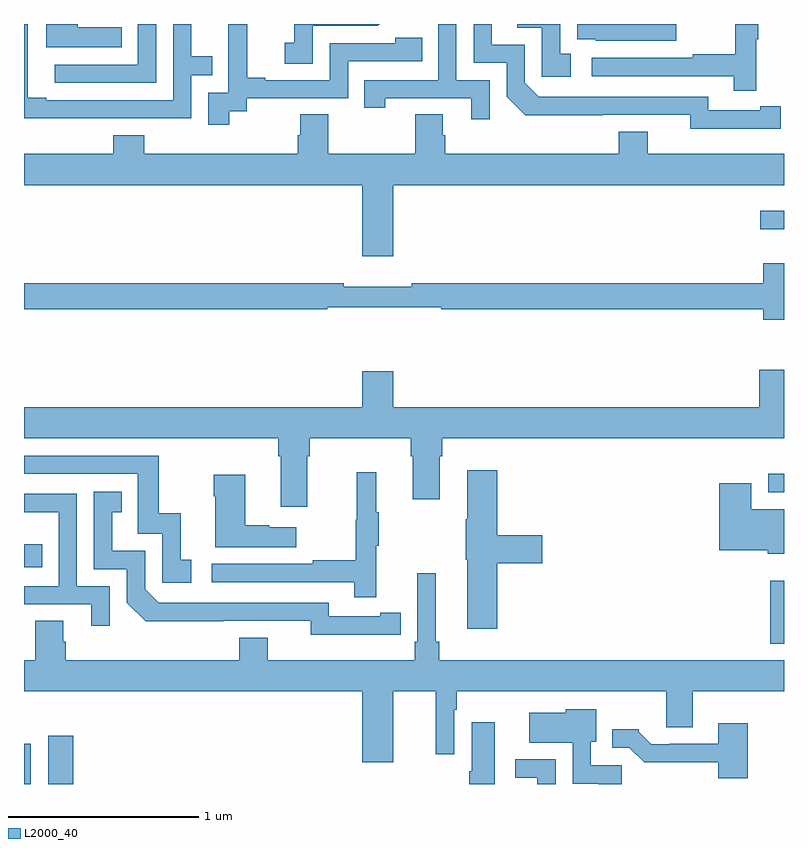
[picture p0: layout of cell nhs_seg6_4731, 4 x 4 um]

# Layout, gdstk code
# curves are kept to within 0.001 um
import gdstk
lib = gdstk.Library(unit=1e-6, precision=1e-09)
def R(c, l, rs):  # rectangles x0, y0, x1, y1
    for r in rs: c.add(gdstk.rectangle(r[:2], r[2:], *l))
def P(c, l, *ps):  # polygons
    for p in ps: c.add(gdstk.Polygon(p, *l))
L2000_40 = (2000, 40)

nhs_seg6_4731 = lib.new_cell('nhs_seg6_4731')
R(nhs_seg6_4731, L2000_40, [(391,961.5,391.036,961.711), (391.127,961.5,391.259,961.753), (394.927,962.237,395,962.569), (391,962.64,391.097,962.763), (394.917,963.036,395,963.134), (394.875,964.419,395,964.516)])
P(nhs_seg6_4731, L2000_40, [(394.853,965.419),(394.864,965.419),(394.864,965.5),(394.743,965.5),(394.743,965.342),(394.519,965.342),(394.519,965.322),(393.987,965.322),(393.987,965.226),(394.735,965.226),(394.735,965.148),(394.853,965.148)],
  [(393.877,965.343),(393.822,965.343),(393.822,965.5),(393.597,965.5),(393.597,965.481),(393.726,965.481),(393.726,965.223),(393.877,965.223)],
  [(391.385,965.004),(391.881,965.004),(391.881,965.229),(391.991,965.229),(391.991,965.33),(391.881,965.33),(391.881,965.5),(391.785,965.5),(391.785,965.1),(391.117,965.1),(391.117,965.113),(391.021,965.113),(391.021,965.306),(391.02,965.306),(391.02,965.5),(391,965.5),(391,965.003),(391.385,965.003)],
  [(392.08,965.041),(392.172,965.041),(392.172,965.109),(392.706,965.109),(392.706,965.304),(393.095,965.304),(393.095,965.427),(392.955,965.427),(392.955,965.4),(392.61,965.4),(392.61,965.205),(392.269,965.205),(392.269,965.218),(392.174,965.218),(392.174,965.5),(392.075,965.5),(392.075,965.369),(392.076,965.369),(392.076,965.139),(391.971,965.139),(391.971,964.971),(392.08,964.971)],
  [(391.514,965.482),(391.284,965.482),(391.284,965.5),(391.118,965.5),(391.118,965.378),(391.514,965.378)],
  [(394.874,964.95),(394.982,964.95),(394.982,965.066),(394.874,965.066),(394.874,965.046),(394.602,965.046),(394.602,965.118),(393.708,965.118),(393.636,965.19),(393.636,965.391),(393.463,965.391),(393.463,965.5),(393.366,965.5),(393.366,965.295),(393.54,965.295),(393.54,965.118),(393.638,965.021),(394.506,965.022),(394.506,964.949)],
  [(391.695,965.5),(391.599,965.5),(391.599,965.286),(391.161,965.286),(391.161,965.19),(391.695,965.19)],
  [(393.45,965.205),(393.276,965.205),(393.276,965.5),(393.18,965.5),(393.18,965.205),(392.791,965.205),(392.791,965.058),(392.902,965.058),(392.902,965.109),(393.353,965.109),(393.353,964.998),(393.45,964.998)],
  [(392.52,965.49),(392.862,965.49),(392.872,965.5),(392.422,965.5),(392.422,965.401),(392.373,965.401),(392.373,965.292),(392.52,965.292)],
  [(394.432,965.5),(393.911,965.5),(393.911,965.42),(394.008,965.42),(394.008,965.411),(394.432,965.411)],
  [(392.944,964.652),(395,964.652),(395,964.816),(394.282,964.816),(394.282,964.933),(394.13,964.933),(394.13,964.816),(393.218,964.816),(393.218,964.914),(393.205,964.914),(393.205,965.024),(393.058,965.024),(393.058,964.816),(392.601,964.816),(392.601,965.024),(392.453,965.024),(392.453,964.914),(392.441,964.914),(392.441,964.816),(391.634,964.816),(391.634,964.915),(391.469,964.915),(391.469,964.816),(391,964.816),(391,964.652),(392.78,964.652),(392.78,964.278),(392.944,964.278)],
  [(395,964.24),(394.892,964.24),(394.892,964.136),(393.04,964.136),(393.04,964.117),(392.684,964.117),(392.684,964.136),(391,964.136),(391,964),(392.596,964),(392.596,964.008),(393.196,964.008),(393.196,964),(394.892,964),(394.892,963.944),(395,963.944)],
  [(392.491,963.224),(392.504,963.224),(392.504,963.32),(393.035,963.32),(393.035,963.224),(393.047,963.224),(393.047,963),(393.187,963),(393.187,963.224),(393.2,963.224),(393.2,963.32),(395,963.32),(395,963.679),(394.871,963.679),(394.871,963.484),(392.944,963.484),(392.944,963.673),(392.78,963.673),(392.78,963.484),(391,963.484),(391,963.32),(392.339,963.32),(392.339,963.224),(392.351,963.224),(392.351,962.958),(392.491,962.958)],
  [(391.879,962.679),(391.826,962.679),(391.826,962.926),(391.708,962.926),(391.708,963.228),(391,963.228),(391,963.132),(391.599,963.132),(391.599,962.817),(391.728,962.817),(391.728,962.559),(391.879,962.559)],
  [(393.491,962.663),(393.727,962.663),(393.727,962.81),(393.491,962.81),(393.491,963.151),(393.332,963.151),(393.332,962.893),(393.325,962.893),(393.325,962.679),(393.332,962.679),(393.332,962.316),(393.491,962.316)],
  [(392.855,962.755),(392.866,962.755),(392.866,962.929),(392.855,962.929),(392.855,963.142),(392.752,963.142),(392.752,962.892),(392.745,962.892),(392.745,962.678),(392.521,962.678),(392.521,962.658),(391.989,962.658),(391.989,962.562),(392.737,962.562),(392.737,962.484),(392.855,962.484)],
  [(392.434,962.851),(392.291,962.851),(392.291,962.861),(392.164,962.861),(392.164,963.127),(391.999,963.127),(391.999,963.014),(392.006,963.014),(392.006,962.747),(392.434,962.747)],
  [(395,962.947),(394.828,962.947),(394.828,963.082),(394.658,963.082),(394.658,962.729),(394.914,962.729),(394.914,962.711),(395,962.711)],
  [(392.876,962.286),(392.984,962.286),(392.984,962.402),(392.876,962.402),(392.876,962.382),(392.604,962.382),(392.604,962.454),(391.71,962.454),(391.638,962.526),(391.638,962.727),(391.465,962.727),(391.465,962.931),(391.514,962.931),(391.514,963.037),(391.368,963.037),(391.368,962.631),(391.542,962.631),(391.542,962.454),(391.64,962.357),(392.508,962.358),(392.508,962.285)],
  [(391.452,962.541),(391.278,962.541),(391.278,963.027),(391,963.027),(391,962.93),(391.182,962.93),(391.182,962.541),(391,962.541),(391,962.445),(391.355,962.445),(391.355,962.334),(391.452,962.334)],
  [(392.944,961.988),(393.166,961.988),(393.166,961.656),(393.264,961.656),(393.264,961.892),(393.277,961.892),(393.277,961.988),(394.379,961.988),(394.379,961.798),(394.519,961.798),(394.519,961.988),(395,961.988),(395,962.152),(393.185,962.152),(393.185,962.248),(393.166,962.248),(393.166,962.608),(393.069,962.608),(393.069,962.248),(393.056,962.248),(393.056,962.152),(392.284,962.152),(392.284,962.269),(392.132,962.269),(392.132,962.152),(391.22,962.152),(391.22,962.25),(391.207,962.25),(391.207,962.36),(391.06,962.36),(391.06,962.152),(391,962.152),(391,961.988),(392.78,961.988),(392.78,961.614),(392.944,961.614)],
  [(394.147,961.599),(393.984,961.599),(393.984,961.722),(394.012,961.722),(394.012,961.894),(393.852,961.894),(393.852,961.876),(393.66,961.876),(393.66,961.718),(393.888,961.718),(393.888,961.502),(394.022,961.502),(394.022,961.5),(394.147,961.5)],
  [(393.478,961.825),(393.356,961.825),(393.356,961.568),(393.344,961.568),(393.344,961.5),(393.478,961.5)],
  [(394.808,961.819),(394.655,961.819),(394.655,961.713),(394.399,961.713),(394.399,961.71),(394.3,961.71),(394.236,961.774),(394.236,961.789),(394.097,961.789),(394.097,961.692),(394.185,961.692),(394.264,961.614),(394.653,961.614),(394.653,961.529),(394.808,961.529)],
  [(393.798,961.629),(393.585,961.629),(393.585,961.533),(393.702,961.533),(393.702,961.5),(393.798,961.5)])

lib.write_gds('nhs_seg6_4731.gds')
